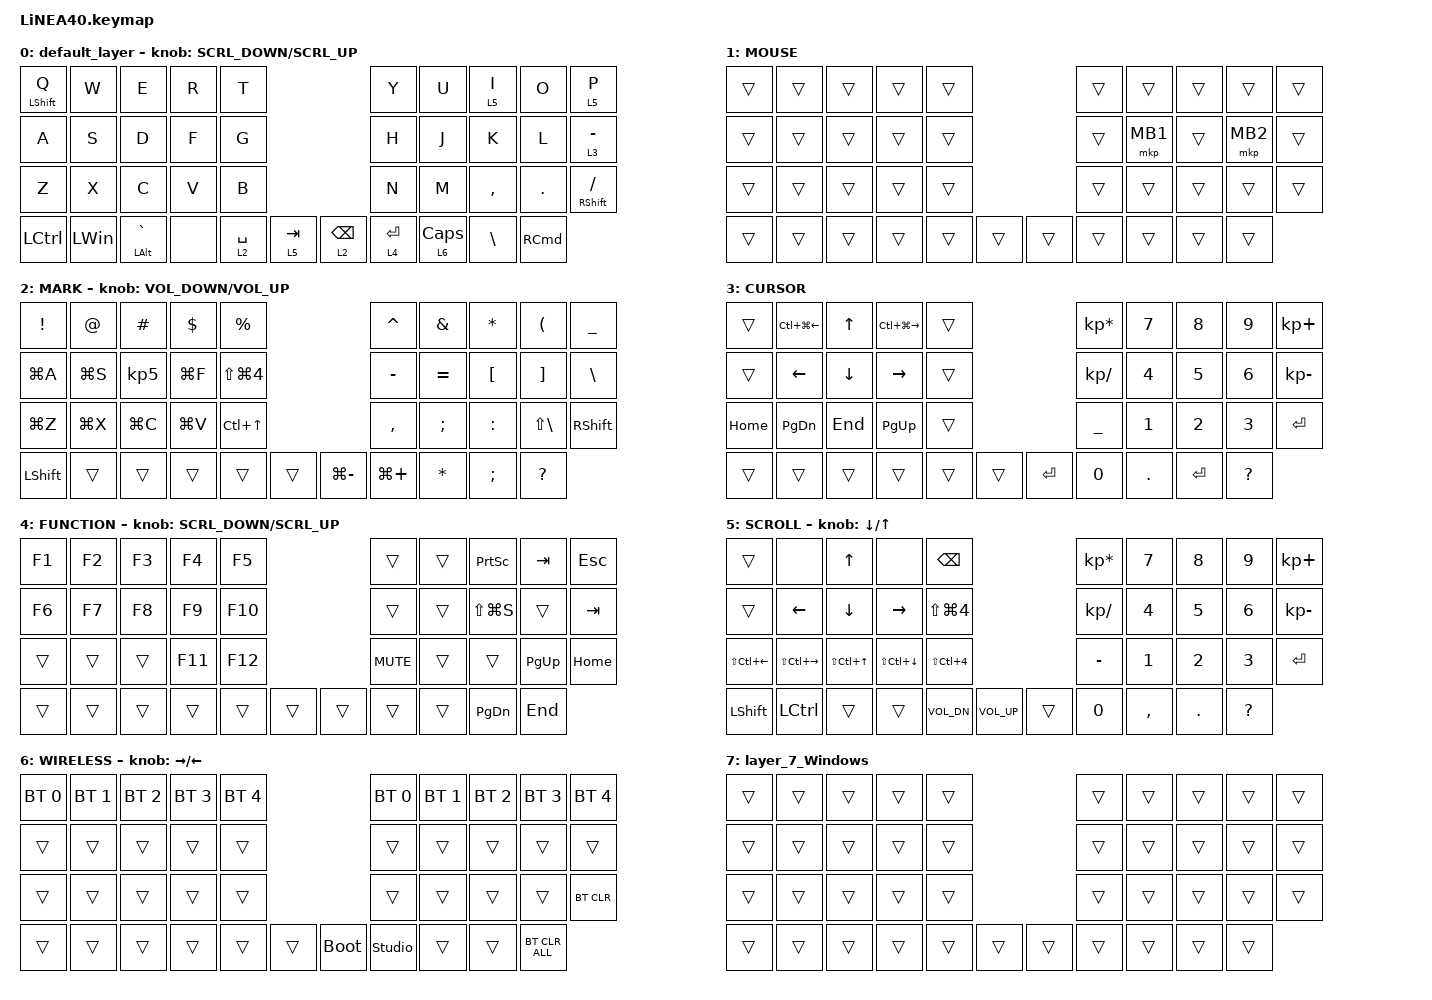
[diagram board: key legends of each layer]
#define ZMK_POINTING_DEFAULT_SCRL_VAL 150

#include <dt-bindings/zmk/input_transform.h>
#include <input/processors.dtsi>
#include <zephyr/dt-bindings/input/input-event-codes.h>
#include <behaviors.dtsi>
#include <dt-bindings/zmk/bt.h>
#include <dt-bindings/zmk/keys.h>
#include <dt-bindings/zmk/pointing.h>

#define MOUSE 1
#define MARK 2
#define CURSOR 3
#define FUNCTION 4
#define SCROLL 5
#define WIRELESS 6

//mouse cursol

&mmv {
    delay-ms = <20>;
    trigger-period-ms = <5>;
    time-to-max-speed-ms = <100>;
    acceleration-exponent = <2>;
};

//mouse scroll

&msc {
    delay-ms = <3>;
    trigger-period-ms = <3>;
    time-to-max-speed-ms = <100>;
    acceleration-exponent = <0>;
};

/ {
    input_processors {
        zip_wheel_scaler: zip_wheel_scaler {
            compatible = "zmk,input-processor-scaler";
            #input-processor-cells = <2>;
            type = <INPUT_EV_REL>;
            codes = <INPUT_REL_WHEEL>;
            track-remainders;
        };
    };
};

&msc_input_listener {
    speed_up {
        layers = <FUNCTION>;
        input-processors = <&zip_wheel_scaler 3 1>; //スクロールを3倍速にする
    };
};

&trackball_listener {
    scroller {
        layers = <SCROLL>;
        input-processors =
            <&zip_xy_transform INPUT_TRANSFORM_Y_INVERT>,
            //スクロール方向を逆転,,,,,,,,,,
            <&zip_xy_to_scroll_mapper>;
    };
};

/ {
    combos {
        compatible = "zmk,combos";

        ZenkakuHankaku {
            bindings = <&kp GRAVE>;
            key-positions = <11 12>;
        };

        DeleteKey {
            bindings = <&kp DEL>;
            key-positions = <7 8>;
        };

        InsertKey {
            bindings = <&kp INS>;
            key-positions = <6 7>;
        };

        CenterClick {
            bindings = <&mkp MB3>;
            key-positions = <17 16>;
        };

        RightClick {
            bindings = <&mkp MB2>;
            key-positions = <18 17>;
        };

        PrevClick {
            bindings = <&mkp MB4>;
            key-positions = <27 28>;
        };

        ClickNext {
            bindings = <&mkp MB5>;
            key-positions = <26 27>;
        };
    };

    behaviors {
        re_kp: sensor_rotate_kp {
            compatible = "zmk,behavior-sensor-rotate-var";
            #sensor-binding-cells = <2>;
            bindings = <&kp>, <&kp>;
        };

        mouse_scrl: mouse_wheel_scrl {
            compatible = "zmk,behavior-sensor-rotate-var";
            #sensor-binding-cells = <2>;
            bindings = <&msc>, <&msc>;

            tap-ms = <20>;
        };
    };

    keymap {
        compatible = "zmk,keymap";

        default_layer {
            bindings = <
&mt LEFT_SHIFT Q  &kp W         &kp E               &kp R  &kp T                                      &kp Y        &kp U  &lt 5 I     &kp O          &lt 5 P
&kp A             &kp S         &kp D               &kp F  &kp G                                      &kp H        &kp J  &kp K       &kp L          &lt 3 MINUS
&kp Z             &kp X         &kp C               &kp V  &kp B                                      &kp N        &kp M  &kp COMMA   &kp DOT        &mt RIGHT_SHIFT SLASH
&kp LEFT_CONTROL  &kp LEFT_WIN  &mt LEFT_ALT GRAVE  &none  &lt 2 SPACE  &lt 5 TAB    &lt 2 BACKSPACE  &lt 4 ENTER         &lt 6 CLCK  &kp BACKSLASH  &kp RIGHT_COMMAND
            >;

            sensor-bindings = <&mouse_scrl SCRL_DOWN SCRL_UP>;
        };

        //1

        MOUSE {
            bindings = <
&trans  &trans  &trans  &trans  &trans                    &trans  &trans    &trans  &trans    &trans
&trans  &trans  &trans  &trans  &trans                    &trans  &mkp MB1  &trans  &mkp MB2  &trans
&trans  &trans  &trans  &trans  &trans                    &trans  &trans    &trans  &trans    &trans
&trans  &trans  &trans  &trans  &trans  &trans    &trans  &trans            &trans  &trans    &trans
            >;
        };

        //2

        MARK {
            bindings = <
&kp EXCLAMATION  &kp AT     &kp HASH         &kp DOLLAR  &kp PERCENT                                    &kp CARET     &kp AMPERSAND  &kp ASTERISK      &kp LEFT_PARENTHESIS  &kp UNDERSCORE
&kp LG(A)        &kp LG(S)  &kp KP_NUMBER_5  &kp LG(F)   &kp LS(LG(NUMBER_4))                           &kp MINUS     &kp EQUAL      &kp LEFT_BRACKET  &kp RIGHT_BRACKET     &kp BACKSLASH
&kp LG(Z)        &kp LG(X)  &kp LG(C)        &kp LG(V)   &kp LC(UP_ARROW)                               &kp COMMA     &kp SEMICOLON  &kp COLON         &kp LS(BACKSLASH)     &kp RIGHT_SHIFT
&kp LEFT_SHIFT   &trans     &trans           &trans      &trans                &trans    &kp LG(MINUS)  &kp LG(PLUS)                 &kp ASTERISK      &kp SEMI              &kp QUESTION
            >;

            sensor-bindings = <&re_kp C_VOLUME_DOWN C_VOLUME_UP>;
        };

        //3

        CURSOR {
            bindings = <
&trans    &kp LC(LG(LEFT_ARROW))  &kp UP_ARROW  &kp LC(LG(RIGHT_ARROW))  &trans                       &kp KP_MULTIPLY  &kp NUMBER_7  &kp NUMBER_8  &kp NUMBER_9  &kp KP_PLUS
&trans    &kp LEFT_ARROW          &kp DOWN      &kp RIGHT_ARROW          &trans                       &kp KP_SLASH     &kp NUMBER_4  &kp NUMBER_5  &kp NUMBER_6  &kp KP_MINUS
&kp HOME  &kp PAGE_DOWN           &kp END       &kp PAGE_UP              &trans                       &kp UNDER        &kp NUMBER_1  &kp NUMBER_2  &kp NUMBER_3  &kp ENTER
&trans    &trans                  &trans        &trans                   &trans  &trans    &kp ENTER  &kp NUMBER_0                   &kp DOT       &kp ENTER     &kp QUESTION
            >;
        };

        //4

        FUNCTION {
            bindings = <
&kp F1  &kp F2  &kp F3  &kp F4   &kp F5                     &trans      &trans  &kp PRINTSCREEN  &kp TAB    &kp ESCAPE
&kp F6  &kp F7  &kp F8  &kp F9   &kp F10                    &trans      &trans  &kp LS(LG(S))    &trans     &kp TAB
&trans  &trans  &trans  &kp F11  &kp F12                    &kp C_MUTE  &trans  &trans           &kp PG_UP  &kp HOME
&trans  &trans  &trans  &trans   &trans   &trans    &trans  &trans              &trans           &kp PG_DN  &kp END
            >;

            sensor-bindings = <&mouse_scrl SCRL_DOWN SCRL_UP>;
        };

        //5

        SCROLL {
            bindings = <
&trans                  &none                    &kp UP_ARROW          &none                   &kp BACKSPACE                                 &kp KP_MULTIPLY  &kp NUMBER_7  &kp NUMBER_8  &kp NUMBER_9  &kp KP_PLUS
&trans                  &kp LEFT_ARROW           &kp DOWN              &kp RIGHT_ARROW         &kp LS(LG(NUMBER_4))                          &kp KP_SLASH     &kp NUMBER_4  &kp NUMBER_5  &kp NUMBER_6  &kp KP_MINUS
&kp LS(LC(LEFT_ARROW))  &kp LS(LC(RIGHT_ARROW))  &kp LS(LC(UP_ARROW))  &kp LS(LC(DOWN_ARROW))  &kp LS(LC(NUMBER_4))                          &kp MINUS        &kp NUMBER_1  &kp NUMBER_2  &kp NUMBER_3  &kp ENTER
&kp LEFT_SHIFT          &kp LEFT_CONTROL         &trans                &trans                  &kp C_VOL_DN          &kp C_VOL_UP    &trans  &kp NUMBER_0                   &kp COMMA     &kp DOT       &kp QUESTION
            >;

            sensor-bindings = <&inc_dec_kp DOWN_ARROW UP_ARROW>;
        };

        //6

        WIRELESS {
            bindings = <
&bt BT_SEL 0  &bt BT_SEL 1  &bt BT_SEL 2  &bt BT_SEL 3  &bt BT_SEL 4                         &bt BT_SEL 0    &bt BT_SEL 1  &bt BT_SEL 2  &bt BT_SEL 3  &bt BT_SEL 4
&trans        &trans        &trans        &trans        &trans                               &trans          &trans        &trans        &trans        &trans
&trans        &trans        &trans        &trans        &trans                               &trans          &trans        &trans        &trans        &bt BT_CLR
&trans        &trans        &trans        &trans        &trans        &trans    &bootloader  &studio_unlock                &trans        &trans        &bt BT_CLR_ALL
            >;

            sensor-bindings = <&inc_dec_kp RIGHT_ARROW LEFT_ARROW>;
        };

        layer_7_Windows {
            bindings = <
&trans  &trans  &trans  &trans  &trans                    &trans  &trans  &trans  &trans  &trans
&trans  &trans  &trans  &trans  &trans                    &trans  &trans  &trans  &trans  &trans
&trans  &trans  &trans  &trans  &trans                    &trans  &trans  &trans  &trans  &trans
&trans  &trans  &trans  &trans  &trans  &trans    &trans  &trans          &trans  &trans  &trans
            >;
        };
    };
};
